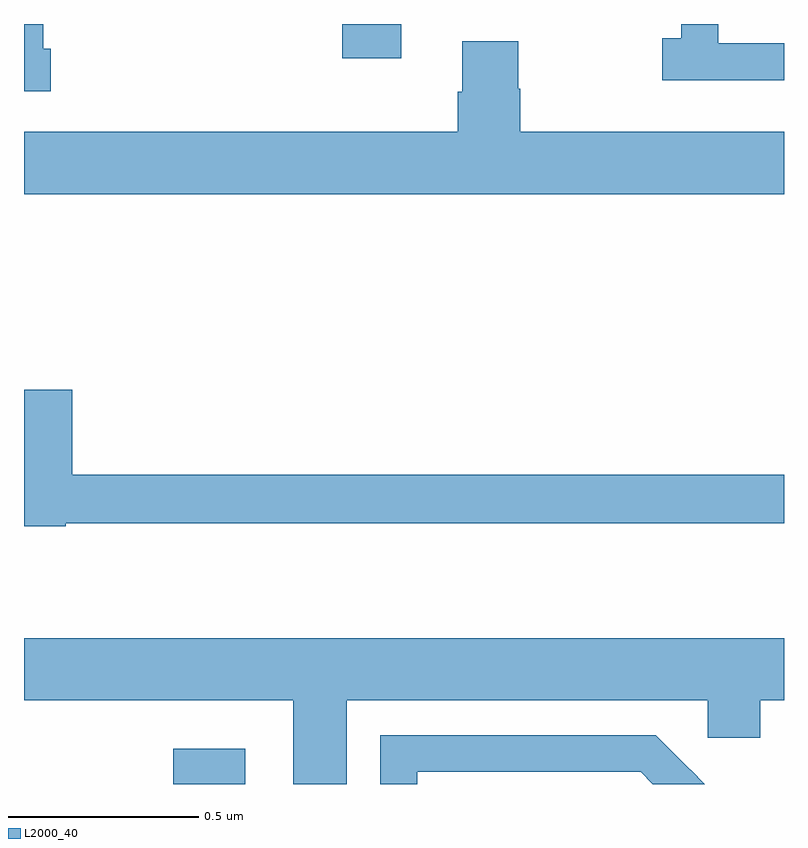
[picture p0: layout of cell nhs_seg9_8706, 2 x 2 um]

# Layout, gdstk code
import gdstk
lib = gdstk.Library(unit=1e-6, precision=1e-09)
def R(c, l, rs):  # rectangles x0, y0, x1, y1
    for r in rs: c.add(gdstk.rectangle(r[:2], r[2:], *l))
def P(c, l, *ps):  # polygons
    for p in ps: c.add(gdstk.Polygon(p, *l))
L2000_40 = (2000, 40)

nhs_seg9_8706 = lib.new_cell('nhs_seg9_8706')
R(nhs_seg9_8706, L2000_40, [(220.393,1229.5,220.582,1229.593), (220.837,1231.41,220.993,1231.5)])
P(nhs_seg9_8706, L2000_40, [(220.07,1231.435),(220.05,1231.435),(220.05,1231.5),(220,1231.5),(220,1231.323),(220.07,1231.323)],
  [(222,1231.449),(221.827,1231.449),(221.827,1231.5),(221.73,1231.5),(221.73,1231.462),(221.679,1231.462),(221.679,1231.352),(222,1231.352)],
  [(222,1231.216),(221.306,1231.216),(221.306,1231.329),(221.301,1231.329),(221.301,1231.454),(221.153,1231.454),(221.153,1231.322),(221.141,1231.322),(221.141,1231.216),(220,1231.216),(220,1231.052),(222,1231.052)],
  [(220.11,1230.186),(222,1230.186),(222,1230.314),(220.127,1230.314),(220.127,1230.538),(220,1230.538),(220,1230.178),(220.11,1230.178)],
  [(220.849,1229.72),(221.799,1229.72),(221.799,1229.622),(221.938,1229.622),(221.938,1229.72),(222,1229.72),(222,1229.884),(220,1229.884),(220,1229.72),(220.709,1229.72),(220.709,1229.5),(220.849,1229.5)],
  [(221.035,1229.532),(221.623,1229.532),(221.655,1229.5),(221.792,1229.5),(221.754,1229.538),(221.753,1229.537),(221.662,1229.628),(220.938,1229.628),(220.938,1229.5),(221.035,1229.5)])

lib.write_gds('nhs_seg9_8706.gds')
